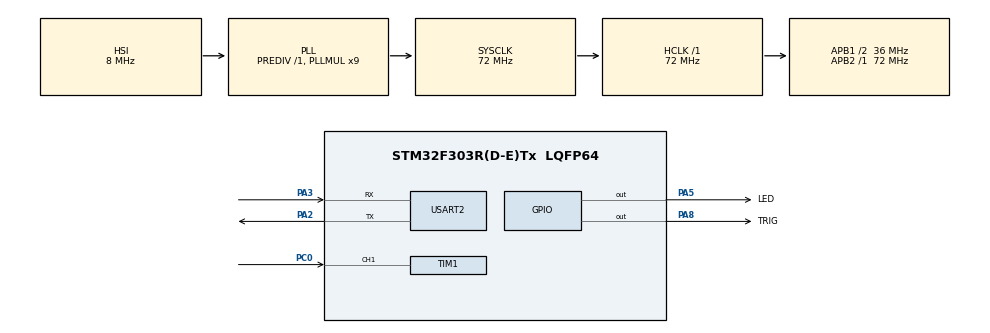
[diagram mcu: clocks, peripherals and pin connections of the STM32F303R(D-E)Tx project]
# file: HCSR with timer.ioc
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Mcu.Family=STM32F3
Mcu.Name=STM32F303R(D-E)Tx
Mcu.Package=LQFP64
NVIC.PriorityGroup=NVIC_PRIORITYGROUP_0
NVIC.TIM1_CC_IRQn=true\:0\:0\:false\:false\:true\:true\:true
PA2.Mode=Asynchronous
PA2.Signal=USART2_TX
PA3.Mode=Asynchronous
PA3.Signal=USART2_RX
PA5.GPIO_Label=LED
PA5.Signal=GPIO_Output
PA8.GPIO_Label=TRIG
PA8.Signal=GPIO_Output
PC0.Signal=S_TIM1_CH1
ProjectManager.HeapSize=0x200
ProjectManager.StackSize=0x400
ProjectManager.TargetToolchain=TrueSTUDIO
RCC.AHBFreq_Value=72000000
RCC.APB1CLKDivider=RCC_HCLK_DIV2
RCC.APB1Freq_Value=36000000
RCC.APB1TimFreq_Value=72000000
RCC.APB2Freq_Value=72000000
RCC.APB2TimFreq_Value=72000000
RCC.CortexFreq_Value=72000000
RCC.HCLKFreq_Value=72000000
RCC.HSE_VALUE=8000000
RCC.HSI_VALUE=8000000
RCC.LSE_VALUE=32768
RCC.PLLM=8
RCC.PLLMUL=RCC_PLL_MUL9
RCC.PLLN=336
RCC.PLLP=RCC_PLLP_DIV4
RCC.PLLQ=7
RCC.RCC_PLLsource_Clock_Source_FROM_HSE=RCC_HSE_PREDIV_DIV2
RCC.SYSCLKFreq_VALUE=72000000
RCC.SYSCLKSourceVirtual=RCC_SYSCLKSOURCE_PLLCLK
RCC.USBFreq_Value=72000000
SH.S_TIM1_CH1.0=TIM1_CH1,Input_Capture1_from_TI1
TIM1.Channel-Input_Capture1_from_TI1=TIM_CHANNEL_1
TIM1.Prescaler=72-1
USART2.VirtualMode-Asynchronous=VM_ASYNC
VP_TIM1_VS_ClockSourceINT.Mode=Internal
board=NUCLEO-F303RE

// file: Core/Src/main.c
/* USER CODE BEGIN Header */
/**
  ******************************************************************************
  * @file           : main.c
  * @brief          : Main program body
  ******************************************************************************
  * @attention
  *
  * <h2><center>&copy; Copyright (c) 2020 STMicroelectronics.
  * All rights reserved.</center></h2>
  *
  * This software component is licensed by ST under BSD 3-Clause license,
  * the "License"; You may not use this file except in compliance with the
  * License. You may obtain a copy of the License at:
  *                        opensource.org/licenses/BSD-3-Clause
  *
  ******************************************************************************
  */
/* USER CODE END Header */
#include "main.h"

TIM_HandleTypeDef htim1;

UART_HandleTypeDef huart2;

void SystemClock_Config(void);
static void MX_GPIO_Init(void);
static void MX_TIM1_Init(void);
static void MX_USART2_UART_Init(void);

/* USER CODE BEGIN 0 */
void delay (uint16_t time)					//delay function in us
{
	__HAL_TIM_SET_COUNTER(&htim1, 0);
	while (__HAL_TIM_GET_COUNTER (&htim1) < time);	 //
}

uint32_t firstValue = 0;
uint32_t secondValue = 0;
uint32_t sub = 0;			//subtract value
uint8_t capturedOne = 0;
uint8_t distance  = 0;
char uartBuf[100];			//used as buffer for the string to be send to PC

#define TRIG_PIN GPIO_PIN_8
#define TRIG_PORT GPIOA

void HAL_TIM_IC_CaptureCallback(TIM_HandleTypeDef *htim)
{
	if (htim->Channel == HAL_TIM_ACTIVE_CHANNEL_1)
	{
		if (capturedOne==0) // check if first value is captured
		{
			firstValue = HAL_TIM_ReadCapturedValue(htim, TIM_CHANNEL_1);    //read the value
			capturedOne = 1;  									// change the value of the variable
			__HAL_TIM_SET_CAPTUREPOLARITY(htim, TIM_CHANNEL_1, TIM_INPUTCHANNELPOLARITY_FALLING);  		//if the value is captured change the polarity to falling edge
		}

		else if (capturedOne==1)   // if the first value is captured
		{
			secondValue = HAL_TIM_ReadCapturedValue(htim, TIM_CHANNEL_1);  // read second value
			__HAL_TIM_SET_COUNTER(htim, 0);  							// reset the counter

			sub = secondValue-firstValue;				//subtraction of the two values

			distance = sub * .034/2;			//time in us * speed of sound in air in cm / 2 (the sound needs to go back to the sensor)
			capturedOne = 0; 					// set the capture value to 0

			__HAL_TIM_SET_CAPTUREPOLARITY(htim, TIM_CHANNEL_1, TIM_INPUTCHANNELPOLARITY_RISING);  //change the polarity back to rising edge
			__HAL_TIM_DISABLE_IT(&htim1, TIM_IT_CC1);											//disable the TIM1 interrupt
		}
	}
}

void HCSR04_Read (void)
{
	HAL_GPIO_WritePin(TRIG_PORT, TRIG_PIN, GPIO_PIN_SET);  // TRIG set to HIGH
	delay(10);  // wait for 10 us
	HAL_GPIO_WritePin(TRIG_PORT, TRIG_PIN, GPIO_PIN_RESET);  // TRIG set to LOW

	__HAL_TIM_ENABLE_IT(&htim1, TIM_IT_CC1);				//Enable timer interrupt
}

/* USER CODE END 0 */

int main(void)
{

  /* MCU Configuration--------------------------------------------------------*/

  /* Reset of all peripherals, Initializes the Flash interface and the Systick. */
  HAL_Init();

  /* Configure the system clock */
  SystemClock_Config();

  /* Initialize all configured peripherals */
  MX_GPIO_Init();
  MX_TIM1_Init();
  MX_USART2_UART_Init();
  /* USER CODE BEGIN 2 */

  HAL_TIM_IC_Start_IT(&htim1, TIM_CHANNEL_1);	//Enable timer interrupt

  /* USER CODE END 2 */

  /* Infinite loop */
  /* USER CODE BEGIN WHILE */
  while (1)
  {
	  HCSR04_Read();				//read the value
	  sprintf(uartBuf, "Distance (cm)  = %.1d\r\n", distance);			//convert to string
	  		HAL_UART_Transmit(&huart2, (uint8_t *)uartBuf, strlen(uartBuf), 100);		//transfer the string to PC // (interface, address, buffer size, timeout)
	  		HAL_Delay(1000);		//delay 1s
  }
  /* USER CODE END 3 */
}

void SystemClock_Config(void)
{
  RCC_OscInitTypeDef RCC_OscInitStruct = {0};
  RCC_ClkInitTypeDef RCC_ClkInitStruct = {0};
  RCC_PeriphCLKInitTypeDef PeriphClkInit = {0};

  /** Initializes the RCC Oscillators according to the specified parameters
  * in the RCC_OscInitTypeDef structure.
  */
  RCC_OscInitStruct.OscillatorType = RCC_OSCILLATORTYPE_HSI;
  RCC_OscInitStruct.HSIState = RCC_HSI_ON;
  RCC_OscInitStruct.HSICalibrationValue = RCC_HSICALIBRATION_DEFAULT;
  RCC_OscInitStruct.PLL.PLLState = RCC_PLL_ON;
  RCC_OscInitStruct.PLL.PLLSource = RCC_PLLSOURCE_HSI;
  RCC_OscInitStruct.PLL.PLLMUL = RCC_PLL_MUL9;
  RCC_OscInitStruct.PLL.PREDIV = RCC_PREDIV_DIV1;
  if (HAL_RCC_OscConfig(&RCC_OscInitStruct) != HAL_OK)
  {
    Error_Handler();
  }
  /** Initializes the CPU, AHB and APB buses clocks
  */
  RCC_ClkInitStruct.ClockType = RCC_CLOCKTYPE_HCLK|RCC_CLOCKTYPE_SYSCLK
                              |RCC_CLOCKTYPE_PCLK1|RCC_CLOCKTYPE_PCLK2;
  RCC_ClkInitStruct.SYSCLKSource = RCC_SYSCLKSOURCE_PLLCLK;
  RCC_ClkInitStruct.AHBCLKDivider = RCC_SYSCLK_DIV1;
  RCC_ClkInitStruct.APB1CLKDivider = RCC_HCLK_DIV2;
  RCC_ClkInitStruct.APB2CLKDivider = RCC_HCLK_DIV1;

  if (HAL_RCC_ClockConfig(&RCC_ClkInitStruct, FLASH_LATENCY_2) != HAL_OK)
  {
    Error_Handler();
  }
  PeriphClkInit.PeriphClockSelection = RCC_PERIPHCLK_USART2|RCC_PERIPHCLK_TIM1;
  PeriphClkInit.Usart2ClockSelection = RCC_USART2CLKSOURCE_PCLK1;
  PeriphClkInit.Tim1ClockSelection = RCC_TIM1CLK_HCLK;
  if (HAL_RCCEx_PeriphCLKConfig(&PeriphClkInit) != HAL_OK)
  {
    Error_Handler();
  }
}

static void MX_TIM1_Init(void)
{

  TIM_ClockConfigTypeDef sClockSourceConfig = {0};
  TIM_MasterConfigTypeDef sMasterConfig = {0};
  TIM_IC_InitTypeDef sConfigIC = {0};

  htim1.Instance = TIM1;
  htim1.Init.Prescaler = 72-1;
  htim1.Init.CounterMode = TIM_COUNTERMODE_UP;
  htim1.Init.Period = 65535;
  htim1.Init.ClockDivision = TIM_CLOCKDIVISION_DIV1;
  htim1.Init.RepetitionCounter = 0;
  htim1.Init.AutoReloadPreload = TIM_AUTORELOAD_PRELOAD_DISABLE;
  if (HAL_TIM_Base_Init(&htim1) != HAL_OK)
  {
    Error_Handler();
  }
  sClockSourceConfig.ClockSource = TIM_CLOCKSOURCE_INTERNAL;
  if (HAL_TIM_ConfigClockSource(&htim1, &sClockSourceConfig) != HAL_OK)
  {
    Error_Handler();
  }
  if (HAL_TIM_IC_Init(&htim1) != HAL_OK)
  {
    Error_Handler();
  }
  sMasterConfig.MasterOutputTrigger = TIM_TRGO_RESET;
  sMasterConfig.MasterOutputTrigger2 = TIM_TRGO2_RESET;
  sMasterConfig.MasterSlaveMode = TIM_MASTERSLAVEMODE_DISABLE;
  if (HAL_TIMEx_MasterConfigSynchronization(&htim1, &sMasterConfig) != HAL_OK)
  {
    Error_Handler();
  }
  sConfigIC.ICPolarity = TIM_INPUTCHANNELPOLARITY_RISING;
  sConfigIC.ICSelection = TIM_ICSELECTION_DIRECTTI;
  sConfigIC.ICPrescaler = TIM_ICPSC_DIV1;
  sConfigIC.ICFilter = 0;
  if (HAL_TIM_IC_ConfigChannel(&htim1, &sConfigIC, TIM_CHANNEL_1) != HAL_OK)
  {
    Error_Handler();
  }

}

static void MX_USART2_UART_Init(void)
{

  huart2.Instance = USART2;
  huart2.Init.BaudRate = 38400;
  huart2.Init.WordLength = UART_WORDLENGTH_8B;
  huart2.Init.StopBits = UART_STOPBITS_1;
  huart2.Init.Parity = UART_PARITY_NONE;
  huart2.Init.Mode = UART_MODE_TX_RX;
  huart2.Init.HwFlowCtl = UART_HWCONTROL_NONE;
  huart2.Init.OverSampling = UART_OVERSAMPLING_16;
  huart2.Init.OneBitSampling = UART_ONE_BIT_SAMPLE_DISABLE;
  huart2.AdvancedInit.AdvFeatureInit = UART_ADVFEATURE_NO_INIT;
  if (HAL_UART_Init(&huart2) != HAL_OK)
  {
    Error_Handler();
  }

}

static void MX_GPIO_Init(void)
{
  GPIO_InitTypeDef GPIO_InitStruct = {0};

  /* GPIO Ports Clock Enable */
  __HAL_RCC_GPIOC_CLK_ENABLE();
  __HAL_RCC_GPIOA_CLK_ENABLE();

  /*Configure GPIO pin Output Level */
  HAL_GPIO_WritePin(GPIOA, LED_Pin|TRIG_Pin, GPIO_PIN_RESET);

  /*Configure GPIO pins : LED_Pin TRIG_Pin */
  GPIO_InitStruct.Pin = LED_Pin|TRIG_Pin;
  GPIO_InitStruct.Mode = GPIO_MODE_OUTPUT_PP;
  GPIO_InitStruct.Pull = GPIO_NOPULL;
  GPIO_InitStruct.Speed = GPIO_SPEED_FREQ_LOW;
  HAL_GPIO_Init(GPIOA, &GPIO_InitStruct);

}

void Error_Handler(void)
{
}

/************************ (C) COPYRIGHT STMicroelectronics *****END OF FILE****/
